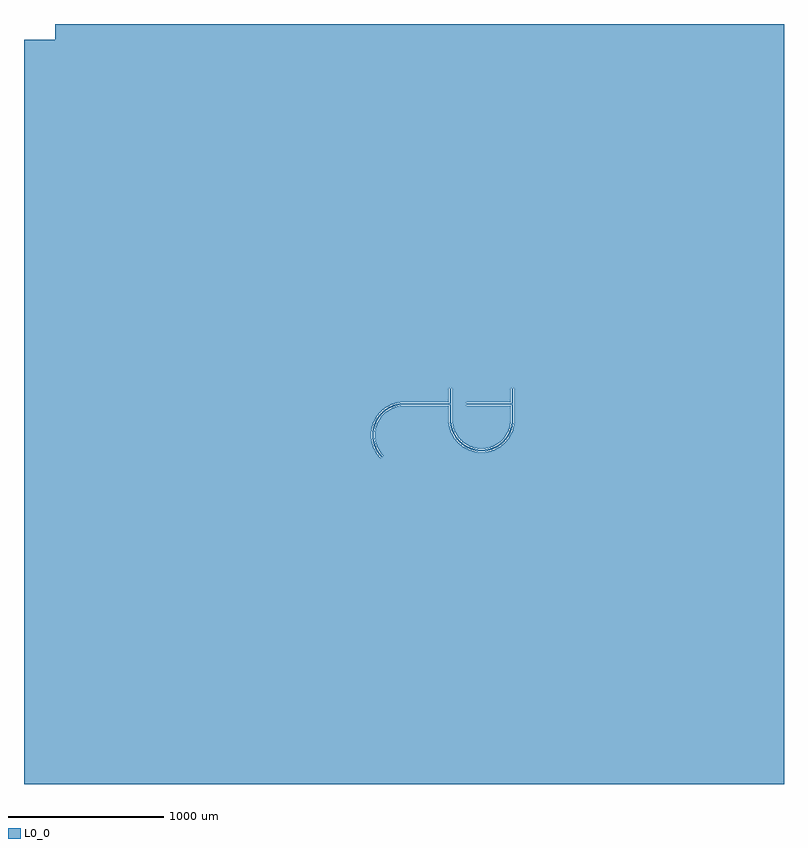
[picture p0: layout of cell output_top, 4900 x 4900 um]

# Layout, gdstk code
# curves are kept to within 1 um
import gdstk
lib = gdstk.Library(unit=1e-6, precision=1e-09)
def R(c, l, rs):  # rectangles x0, y0, x1, y1
    for r in rs: c.add(gdstk.rectangle(r[:2], r[2:], *l))
def A(c, l, x, y, w, h, nx, ny, dx, dy):  # array of equal rectangles
    R(c, l, [(x+i*dx, y+j*dy, x+i*dx+w, y+j*dy+h) for i in range(nx) for j in range(ny)])
def P(c, l, *ps):  # polygons
    for p in ps: c.add(gdstk.Polygon(p, *l))
L0_0 = (0, 0)

output_top = lib.new_cell('output_top')
A(output_top, L0_0, -1960, -2450, 490, 4900, 3, 1, 490, 0)
A(output_top, L0_0, 980, -2450, 490, 4900, 3, 1, 490, 0)
R(output_top, L0_0, [(400,-21,490,-11), (400,11,490,21)])
P(output_top, L0_0, [(-1960,2450),(-2250,2450),(-2250,2350),(-2450,2350),(-2450,-2450),(-1960,-2450)],
  [(0,-21),(-23.364,-22.531),(-51.961,-28.708),(-73.875,-36.955),(-99.447,-51.167),(-118.023,-65.421),(-134.579,-81.977),(-148.833,-100.553),(-163.045,-126.125),(-172.901,-153.671),(-177.469,-176.636),(-178.904,-205.857),(-175.561,-234.921),(-167.527,-263.053),(-157.864,-284.38),(-145.5,-304.264),(-126.572,-326.572),(-156.271,-356.271),(-170.835,-340.201),(-183.755,-322.781),(-194.905,-304.179),(-204.177,-284.573),(-211.484,-264.153),(-216.754,-243.115),(-219.936,-221.662),(-221,-200),(-219.936,-178.338),(-216.754,-156.885),(-211.484,-135.847),(-204.177,-115.427),(-194.905,-95.821),(-183.755,-77.219),(-170.835,-59.799),(-156.271,-43.729),(-140.201,-29.165),(-122.781,-16.245),(-104.179,-5.095),(-84.573,4.177),(-64.153,11.484),(-43.115,16.754),(-21.662,19.936),(0,21),(0,2450),(-490,2450),(-490,-2450),(0,-2450)],
  [(490,-21),(400,-21),(400,21),(490,21),(490,2450),(0,2450),(0,21),(279,21),(279,100),(321,100),(321.383,-111.707),(325.676,-140.647),(334.626,-168.5),(344.981,-189.5),(361.631,-213.556),(377.637,-230.646),(395.736,-245.5),(415.62,-257.864),(436.947,-267.527),(459.353,-274.324),(482.455,-278.138),(490,-278.701)],
  [(490,-320.746),(464,-318.048),(442.801,-313.47),(422.153,-306.835),(395.821,-294.905),(371.272,-279.639),(354.285,-266.157),(338.7,-251.074),(320.361,-228.728),(308.608,-210.5),(298.699,-191.208),(290.728,-171.038),(283.246,-143.115),(279.118,-107.231),(279,-21),(0,-21),(0,-2450),(490,-2450)],
  [(980,2450),(490,2450),(490,21),(679,21),(679,100),(721,100),(719.936,-121.662),(716.754,-143.115),(711.484,-164.153),(704.177,-184.573),(694.905,-204.179),(679.639,-228.728),(656.271,-256.271),(634.536,-275.331),(610.5,-291.392),(577.847,-306.835),(550.184,-315.227),(521.662,-319.936),(490,-320.746),(490,-2450),(980,-2450)],
  [(505.857,-278.904),(523.364,-277.469),(546.329,-272.901),(568.5,-265.374),(589.5,-255.019),(604.264,-245.5),(622.363,-230.646),(638.369,-213.556),(648.833,-199.447),(657.864,-184.38),(667.527,-163.053),(676.609,-129.158),(678.904,-105.857),(679,-21),(490,-21),(490,-278.701)],
  [(-149.2,-349.2),(-167.398,-328.449),(-186.085,-299.465),(-197.476,-274.325),(-206.946,-241.164),(-210.887,-206.904),(-209.984,-179.318),(-205.488,-152.087),(-194.939,-119.254),(-182.731,-94.5),(-167.398,-71.551),(-149.2,-50.8),(-122.903,-28.489),(-93.323,-10.76),(-67.824,-0.198),(-34.371,8.182),(0,11),(0,21),(-36,18.048),(-64.153,11.484),(-97.746,-1.791),(-122.781,-16.245),(-151.074,-38.7),(-170.835,-59.799),(-191.392,-89.5),(-204.177,-115.427),(-213.47,-142.801),(-219.936,-178.338),(-220.527,-214.454),(-215.227,-250.184),(-209.272,-271.038),(-201.301,-291.208),(-183.755,-322.781),(-170.835,-340.201),(-156.271,-356.271)],
  [(-126.572,-326.572),(-145.5,-304.264),(-157.864,-284.38),(-167.527,-263.053),(-175.561,-234.921),(-178.617,-211.707),(-178.138,-182.455),(-172.901,-153.671),(-165.374,-131.5),(-155.019,-110.5),(-138.369,-86.444),(-122.363,-69.354),(-104.264,-54.5),(-79.17,-39.46),(-51.961,-28.708),(-23.364,-22.531),(0,-21),(0,-11),(-30.787,-13.524),(-54.864,-19.138),(-83.593,-30.491),(-105.003,-42.852),(-124.616,-57.902),(-146.099,-80.1),(-163.679,-105.5),(-174.613,-127.673),(-184.063,-157.083),(-188.09,-181.475),(-188.595,-212.361),(-184.063,-242.917),(-172.153,-278.002),(-157.148,-305.003),(-133.643,-333.643)],
  [(289,100),(279,100),(279,21),(0,21),(0,11),(289,11)],
  [(490,-278.701),(465.079,-275.561),(442.462,-269.5),(420.83,-260.54),(400.553,-248.833),(381.977,-234.579),(365.421,-218.023),(351.167,-199.447),(336.955,-173.875),(327.099,-146.329),(321.383,-111.707),(321,100),(311,100),(311.405,-112.361),(315.937,-142.917),(327.847,-178.002),(342.852,-205.003),(357.902,-224.616),(375.384,-242.098),(400.195,-260.499),(433.425,-276.886),(463.128,-285.368),(490,-288.711)],
  [(490,-310.735),(465.629,-308.182),(438.75,-301.914),(419.254,-294.939),(394.5,-282.731),(371.551,-267.398),(355.762,-254.001),(341.362,-239.122),(324.56,-217.225),(313.915,-199.465),(305.061,-180.746),(296.19,-154.611),(291.818,-134.371),(289.113,-106.904),(289,-11),(0,-11),(0,-21),(279,-21),(279.118,-107.231),(283.246,-143.115),(290.728,-171.038),(298.699,-191.208),(308.608,-210.5),(320.361,-228.728),(338.7,-251.074),(354.285,-266.157),(377.219,-283.755),(402.254,-298.209),(435.847,-311.484),(471.154,-319.109),(490,-320.746)],
  [(689,100),(679,100),(679,21),(490,21),(490,11),(689,11)],
  [(507.231,-320.882),(536,-318.048),(564.153,-311.484),(591.208,-301.301),(616.703,-287.674),(640.201,-270.835),(661.3,-251.074),(683.755,-222.781),(698.209,-197.746),(706.835,-177.847),(713.47,-157.199),(718.048,-136),(720.527,-114.454),(721,100),(711,100),(709.984,-120.682),(703.81,-154.611),(697.476,-174.325),(689.24,-193.323),(679.182,-211.422),(663.105,-233.857),(644.238,-254.001),(622.903,-271.511),(593.323,-289.24),(561.25,-301.914),(527.541,-309.195),(490,-310.735),(490,-320.746)],
  [(506.184,-288.899),(530.787,-286.476),(554.864,-280.862),(578.002,-272.153),(594.5,-263.679),(615.056,-249.944),(629.199,-237.944),(642.098,-224.616),(657.148,-205.003),(674.613,-172.327),(680.862,-154.864),(686.476,-130.787),(688.899,-106.184),(689,-11),(490,-11),(490,-21),(679,-21),(678.904,-105.857),(676.609,-129.158),(667.527,-163.053),(657.864,-184.38),(648.833,-199.447),(634.579,-218.023),(618.023,-234.579),(599.447,-248.833),(579.17,-260.54),(557.538,-269.5),(534.921,-275.561),(511.707,-278.617),(490,-278.701),(490,-288.711)],
  [(-137.886,-337.886),(-154.704,-318.708),(-168.875,-297.5),(-180.157,-274.623),(-188.356,-250.47),(-193.332,-225.453),(-194.896,-206.38),(-194.061,-180.887),(-189.906,-155.72),(-182.502,-131.311),(-171.975,-108.078),(-162.137,-91.664),(-146.609,-71.428),(-128.572,-53.391),(-108.336,-37.863),(-86.246,-25.11),(-62.681,-15.349),(-38.043,-8.747),(-6.38,-5.104),(295,-5),(295.987,-120.094),(301.985,-153.058),(308.139,-172.211),(316.141,-190.669),(316.141,-164.895),(308.747,-138.043),(305.104,-106.38),(305,100),(295,100),(295,5),(0,5),(-26.758,3.246),(-59.508,-3.827),(-90.669,-16.141),(-119.408,-33.366),(-144.957,-55.043),(-158.467,-69.949),(-170.451,-86.108),(-180.794,-103.364),(-191.861,-127.789),(-198.015,-146.942),(-202.262,-166.606),(-204.561,-186.592),(-204.89,-206.707),(-203.246,-226.758),(-199.645,-246.551),(-194.121,-265.895),(-183.859,-290.669),(-166.634,-319.408),(-144.957,-344.957)],
  [(506.707,-304.89),(533.394,-302.262),(565.895,-294.121),(590.669,-283.859),(613.892,-270.451),(635.166,-254.127),(654.127,-235.166),(670.451,-213.892),(683.859,-190.669),(691.861,-172.211),(698.015,-153.058),(702.262,-133.394),(704.561,-113.408),(705,100),(695,100),(695,5),(400,5),(400,-5),(695,-5),(694.582,-112.754),(691.253,-138.043),(684.651,-162.681),(671.975,-191.922),(654.704,-218.708),(633.3,-242.323),(608.336,-262.137),(591.922,-271.975),(568.689,-282.502),(550.47,-288.356),(525.453,-293.332),(506.38,-294.896),(480.887,-294.061),(455.72,-289.906),(437.319,-284.651),(413.754,-274.89),(397.027,-265.594),(376.293,-250.737),(362.114,-237.886),(349.263,-223.707),(334.406,-202.973),(325.11,-186.246),(316.141,-164.895),(316.141,-190.669),(325.914,-208.254),(337.363,-224.796),(350.378,-240.136),(364.834,-254.127),(380.592,-266.634),(409.331,-283.859),(440.492,-296.173),(473.242,-303.246)])

lib.write_gds('output_top.gds')
